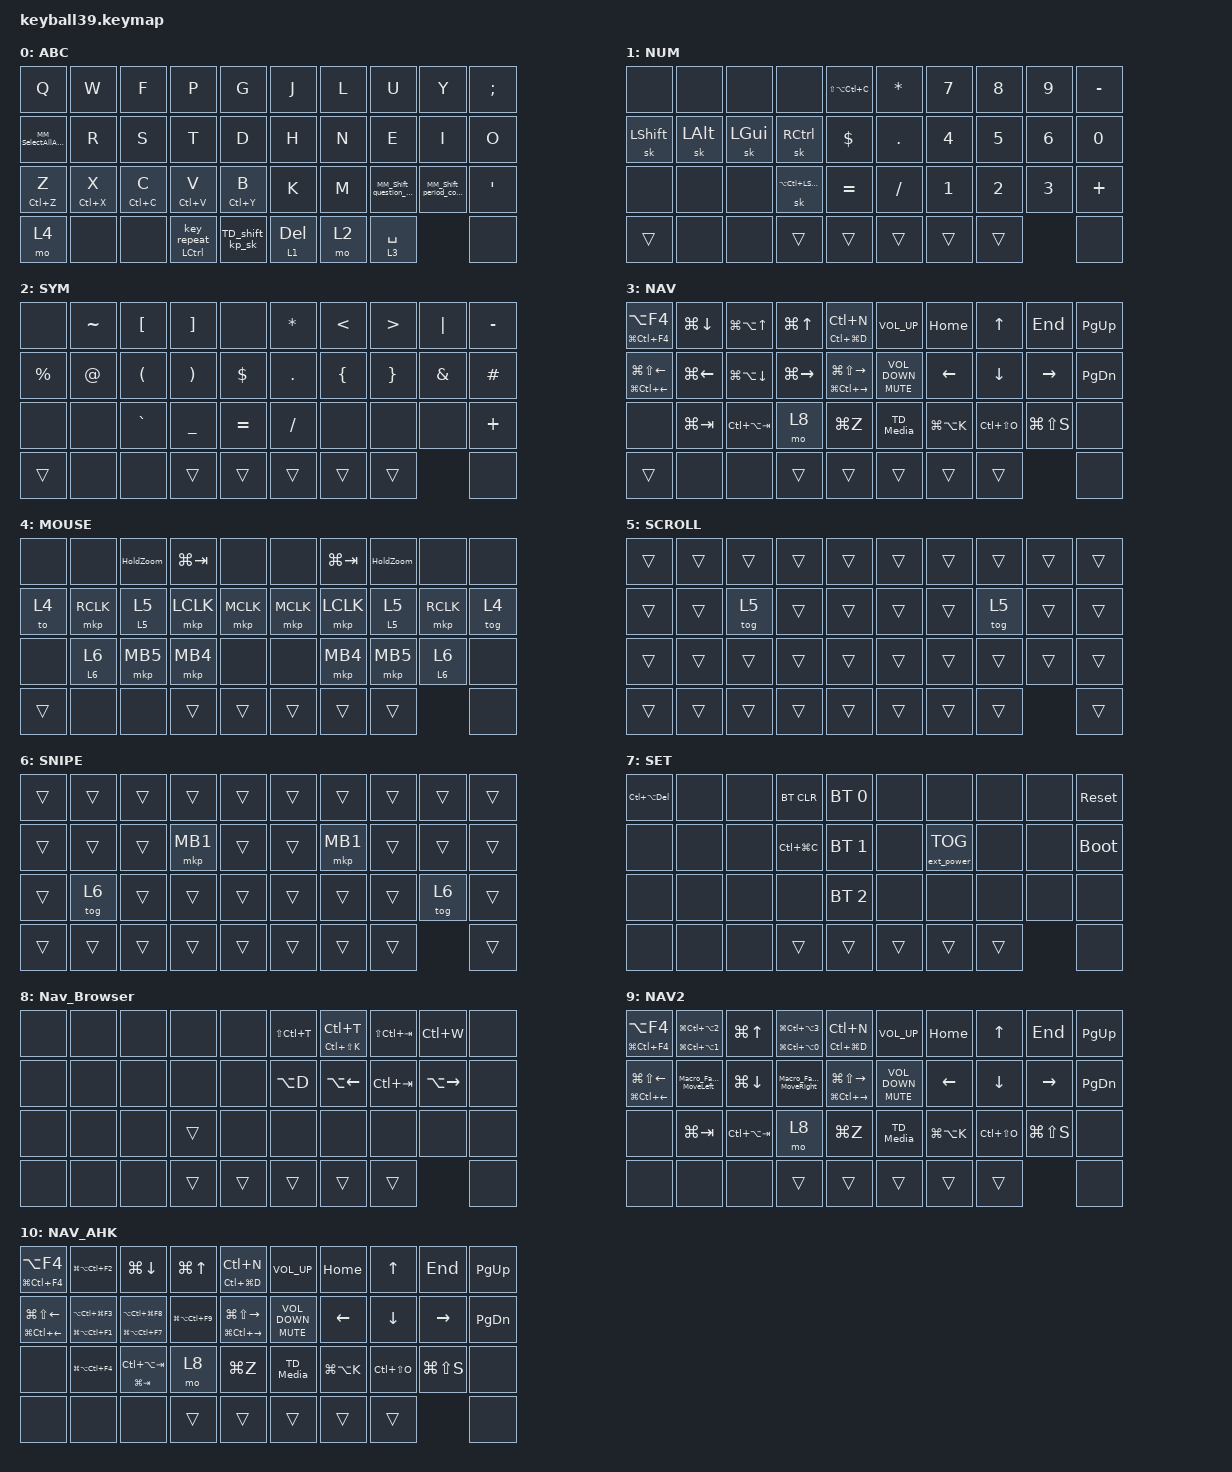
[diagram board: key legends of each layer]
#define DEFAULT 0
#define NUM     1
#define SYM     2
#define FUN     3
#define MOUSE   4
#define SCROLL  5
#define SNIPE   6

#include <behaviors/mouse_keys.dtsi>
#include <dt-bindings/zmk/mouse.h>
#include <behaviors.dtsi>
#include <dt-bindings/zmk/bt.h>
#include <dt-bindings/zmk/ext_power.h>
#include <dt-bindings/zmk/keys.h>
#include <dt-bindings/zmk/pointing.h>

&lt {
    tapping-term-ms = <240>;
    flavor = "balanced";
    quick-tap-ms = <150>;
};

&mt {
    flavor = "tap-preferred";
    quick-tap-ms = <150>;
};

&caps_word { continue-list = <UNDERSCORE MINUS BACKSPACE>; };

/ {
    // custom shift using mod-morph 

    behaviors {
        cmqus: comma_question {
            compatible = "zmk,behavior-mod-morph";
            label = "COMMA_QUESTION";
            #binding-cells = <0>;
            bindings = <&kp COMMA>, <&kp QUESTION>;

            mods = <(MOD_LSFT|MOD_RSFT)>;
        };

        dtsmi: dot_semi {
            compatible = "zmk,behavior-mod-morph";
            label = "DOT_SEMI";
            #binding-cells = <0>;
            bindings = <&kp DOT>, <&kp SEMI>;

            mods = <(MOD_LSFT|MOD_RSFT)>;
        };

        MM_Shift_period_comma: MM_Shift_period_comma {
            compatible = "zmk,behavior-mod-morph";
            label = "MM_SHIFT_PERIOD_COMMA";
            bindings = <&kp PERIOD>, <&kp COMMA>;

            #binding-cells = <0>;
            mods = <(MOD_LSFT)>;
        };

        MM_Shift_question_exclaim: MM_Shift_question_exclaim {
            compatible = "zmk,behavior-mod-morph";
            label = "MM_SHIFT_QUESTION_EXCLAIM";
            bindings = <&kp QUESTION>, <&kp EXCL>;

            #binding-cells = <0>;
            mods = <(MOD_LSFT)>;
        };

        MM_SelectAllAndCopy: MM_SelectAllAndCopy {
            compatible = "zmk,behavior-mod-morph";
            label = "MM_SELECTALLANDCOPY";
            bindings = <&kp A>, <&Select_All_And_Copy>;

            #binding-cells = <0>;
            mods = <(MOD_LCTL)>;
        };

        TD_Media: TD_Media {
            compatible = "zmk,behavior-tap-dance";
            label = "TD_MEDIA";
            #binding-cells = <0>;
            bindings = <&kp C_PLAY_PAUSE>, <&kp C_NEXT>, <&kp C_PREVIOUS>;
        };

        HT_ctrl_repeat: HT_ctrl_repeat {
            compatible = "zmk,behavior-hold-tap";
            label = "HT_CTRL_REPEAT";
            bindings = <&kp>, <&key_repeat>;

            #binding-cells = <2>;
            tapping-term-ms = <200>;
        };

        HT_long_hold: HT_long_hold {
            compatible = "zmk,behavior-hold-tap";
            label = "HT_LONG_HOLD";
            bindings = <&kp>, <&kp>;

            #binding-cells = <2>;
            flavor = "tap-preferred";
            tapping-term-ms = <750>;
        };

        TD_shift_kp_sk: TD_shift_kp_sk {
            compatible = "zmk,behavior-tap-dance";
            label = "TD_SHIFT_KP_SK";
            #binding-cells = <0>;
            bindings = <&kp LEFT_SHIFT>, <&sk LEFT_SHIFT>;
        };

        MT_MOvsTOG: MT_MOvsTOG {
            compatible = "zmk,behavior-hold-tap";
            label = "MT_MOVSTOG";
            bindings = <&mo>, <&tog>;

            #binding-cells = <2>;
            tapping-term-ms = <200>;
        };
    };

    macros {
        HoldZoom: HoldZoom {
            compatible = "zmk,behavior-macro";
            #binding-cells = <0>;
            bindings =
                <&macro_press>,
                <&mo 5 &kp LCTRL>,
                <&macro_pause_for_release>,
                <&macro_release>,
                <&mo 5 &kp LCTRL>;

            label = "HOLDZOOM";
        };

        Select_All_And_Copy: Select_All_And_Copy {
            compatible = "zmk,behavior-macro";
            #binding-cells = <0>;
            bindings = <&kp LC(A) &kp LC(C) &kp RIGHT>;
            label = "SELECT_ALL_AND_COPY";
        };

        Macro_FancyZones_MoveRight: Macro_FancyZones_MoveWindow {
            compatible = "zmk,behavior-macro";
            #binding-cells = <0>;
            bindings =
                <&macro_press>,
                <&kp LEFT_GUI>,
                <&macro_tap>,
                <&kp RIGHT>,
                <&macro_release>,
                <&kp LEFT_GUI>;

            label = "MACRO_FANCYZONES_MOVEWINDOW";
        };

        Macro_FancyZones_MoveLeft: Macro_FancyZones_MoveLeft {
            compatible = "zmk,behavior-macro";
            #binding-cells = <0>;
            bindings =
                <&macro_press>,
                <&kp LEFT_GUI>,
                <&macro_tap>,
                <&kp LEFT>,
                <&macro_release>,
                <&kp LEFT_GUI>;

            label = "MACRO_FANCYZONES_MOVELEFT";
        };
    };

    combos {
        compatible = "zmk,combos";

        Esc_combo {
            bindings = <&HT_long_hold LA(LC(DELETE)) ESCAPE>;
            key-positions = <1 2>;
        };

        Tab_combo {
            bindings = <&kp TAB>;
            key-positions = <21 22>;
        };

        Bspace_combo {
            bindings = <&kp BACKSPACE>;
            key-positions = <7 8>;
        };

        Enter_combo {
            bindings = <&kp ENTER>;
            key-positions = <27 28>;
        };

        capslock_combo {
            bindings = <&kp CAPS>;
            key-positions = <4 5>;
            layers = <0>;
        };

        capsword_combo {
            bindings = <&caps_word>;
            key-positions = <14 15>;
            layers = <0>;
        };

        Backspace_Word_Combo {
            bindings = <&kp LC(BACKSPACE)>;
            key-positions = <17 18>;
        };

        combo_vertical_top23rds {
            bindings = <&kp LA(LC(LG(F5)))>;
            key-positions = <1 11>;
            layers = <10>;
        };

        combo_vertical_bottom23rds {
            bindings = <&kp LC(LA(LG(F6)))>;
            key-positions = <11 21>;
            layers = <10>;
        };

        combo_horizontal_full {
            bindings = <&kp LA(LC(LG(F7)))>;
            key-positions = <13 12>;
            layers = <10>;
        };
    };

    keymap {
        compatible = "zmk,keymap";

        default_layer {
            label = "ABC";
            bindings = <
&kp Q                 &kp W        &kp F        &kp P                    &kp G                                 &kp J        &kp L  &kp U                       &kp Y                   &kp SEMI
&MM_SelectAllAndCopy  &kp R        &kp S        &kp T                    &kp D                                 &kp H        &kp N  &kp E                       &kp I                   &kp O
&mt LC(Z) Z           &mt LC(X) X  &mt LC(C) C  &mt LC(V) V              &mt LC(Y) B                           &kp K        &kp M  &MM_Shift_question_exclaim  &MM_Shift_period_comma  &kp SINGLE_QUOTE
&mo 4                 &none        &none        &HT_ctrl_repeat LCTRL 0  &TD_shift_kp_sk  &lt 1 DELETE  &mo 2  &lt 3 SPACE                                                             &none
            >;
        };

        number_layer {
            label = "NUM";
            bindings = <
&none           &none         &none         &none                   &kp LS(LA(LC(C)))                  &kp ASTERISK  &kp NUMBER_7  &kp NUMBER_8  &kp NUMBER_9  &kp MINUS
&sk LEFT_SHIFT  &sk LEFT_ALT  &sk LEFT_GUI  &sk RCTRL               &kp DOLLAR                         &kp PERIOD    &kp NUMBER_4  &kp NUMBER_5  &kp NUMBER_6  &kp NUMBER_0
&none           &none         &none         &sk LA(LC(LEFT_SHIFT))  &kp EQUAL                          &kp SLASH     &kp NUMBER_1  &kp NUMBER_2  &kp NUMBER_3  &kp PLUS
&trans          &none         &none         &trans                  &trans             &trans  &trans  &trans                                                  &none
            >;
        };

        symbol_layer {
            label = "SYM";
            bindings = <
&none        &kp TILDE  &kp LEFT_BRACKET      &kp RIGHT_BRACKET      &none                       &kp ASTRK   &kp LESS_THAN   &kp GREATER_THAN  &kp PIPE       &kp MINUS
&kp PERCENT  &kp AT     &kp LEFT_PARENTHESIS  &kp RIGHT_PARENTHESIS  &kp DOLLAR                  &kp PERIOD  &kp LEFT_BRACE  &kp RIGHT_BRACE   &kp AMPERSAND  &kp POUND
&none        &none      &kp GRAVE             &kp UNDER              &kp EQUAL                   &kp SLASH   &none           &none             &none          &kp PLUS
&trans       &none      &none                 &trans                 &trans      &trans  &trans  &trans                                                       &none
            >;
        };

        navigation_layer {
            label = "NAV";
            bindings = <
&mt LG(LC(F4)) LA(F4)          &kp LG(DOWN_ARROW)  &kp LG(LA(UP_ARROW))  &kp LG(UP_ARROW)  &mt LC(LG(D)) LC(N)                              &kp C_VOLUME_UP           &kp HOME       &kp UP_ARROW   &kp END        &kp PG_UP
&mt LG(LC(LEFT)) LG(LS(LEFT))  &kp LG(LEFT)        &kp LG(LA(DOWN))      &kp LG(RIGHT)     &mt LG(LC(RIGHT)) LG(LS(RIGHT))                  &mt C_MUTE C_VOLUME_DOWN  &kp LEFT       &kp DOWN       &kp RIGHT      &kp PG_DN
&none                          &kp LG(TAB)         &kp LC(LA(TAB))       &mo 8             &kp LG(Z)                                        &TD_Media                 &kp LG(LA(K))  &kp LC(LS(O))  &kp LG(LS(S))  &none
&trans                         &none               &none                 &trans            &trans                           &trans  &trans  &trans                                                                 &none
            >;
        };

        mouse_layer {
            label = "MOUSE";
            bindings = <
&none   &none            &HoldZoom        &kp LG(TAB)  &none                      &none      &kp LG(TAB)  &HoldZoom        &none            &none
&to 4   &mkp RCLK        &MT_MOvsTOG 5 5  &mkp LCLK    &mkp MCLK                  &mkp MCLK  &mkp LCLK    &MT_MOvsTOG 5 5  &mkp RCLK        &tog 4
&none   &MT_MOvsTOG 6 6  &mkp MB5         &mkp MB4     &none                      &none      &mkp MB4     &mkp MB5         &MT_MOvsTOG 6 6  &none
&trans  &none            &none            &trans       &trans     &trans  &trans  &trans                                                    &none
            >;
        };

        scroll_layer {
            label = "SCROLL";
            bindings = <
&trans  &trans  &trans  &trans  &trans                  &trans  &trans  &trans  &trans  &trans
&trans  &trans  &tog 5  &trans  &trans                  &trans  &trans  &tog 5  &trans  &trans
&trans  &trans  &trans  &trans  &trans                  &trans  &trans  &trans  &trans  &trans
&trans  &trans  &trans  &trans  &trans  &trans  &trans  &trans                          &trans
            >;
        };

        snipe_layer {
            label = "SNIPE";
            bindings = <
&trans  &trans  &trans  &trans    &trans                  &trans  &trans    &trans  &trans  &trans
&trans  &trans  &trans  &mkp MB1  &trans                  &trans  &mkp MB1  &trans  &trans  &trans
&trans  &tog 6  &trans  &trans    &trans                  &trans  &trans    &trans  &tog 6  &trans
&trans  &trans  &trans  &trans    &trans  &trans  &trans  &trans                            &trans
            >;
        };

        settings_layer {
            label = "SET";
            bindings = <
&kp LC(LA(DELETE))  &none  &none  &bt BT_CLR     &bt BT_SEL 0                  &none   &none              &none  &none  &sys_reset
&none               &none  &none  &kp LC(LG(C))  &bt BT_SEL 1                  &none   &ext_power EP_TOG  &none  &none  &bootloader
&none               &none  &none  &none          &bt BT_SEL 2                  &none   &none              &none  &none  &none
&none               &none  &none  &trans         &trans        &trans  &trans  &trans                                   &none
            >;
        };

        Nav_Browser {
            bindings = <
&none  &none  &none  &none   &none                   &kp LS(LC(T))  &mt LC(LS(K)) LC(T)  &kp LS(LC(TAB))  &kp LC(W)            &none
&none  &none  &none  &none   &none                   &kp LA(D)      &kp LA(LEFT_ARROW)   &kp LC(TAB)      &kp LA(RIGHT_ARROW)  &none
&none  &none  &none  &trans  &none                   &none          &none                &none            &none                &none
&none  &none  &none  &trans  &trans  &trans  &trans  &trans                                                                    &none
            >;
        };

        Navigation_FancyZones {
            label = "NAV2";
            bindings = <
&mt LG(LC(F4)) LA(F4)          &mt LG(LC(LA(NUMBER_1))) LG(LC(LA(NUMBER_2)))  &kp LG(UP_ARROW)  &mt LG(LC(LA(N0))) LG(LC(LA(NUMBER_3)))  &mt LC(LG(D)) LC(N)                              &kp C_VOLUME_UP           &kp HOME       &kp UP_ARROW   &kp END        &kp PG_UP
&mt LG(LC(LEFT)) LG(LS(LEFT))  &Macro_FancyZones_MoveLeft                     &kp LG(DOWN)      &Macro_FancyZones_MoveRight              &mt LG(LC(RIGHT)) LG(LS(RIGHT))                  &mt C_MUTE C_VOLUME_DOWN  &kp LEFT       &kp DOWN       &kp RIGHT      &kp PG_DN
&none                          &kp LG(TAB)                                    &kp LC(LA(TAB))   &mo 8                                    &kp LG(Z)                                        &TD_Media                 &kp LG(LA(K))  &kp LC(LS(O))  &kp LG(LS(S))  &none
&none                          &none                                          &none             &trans                                   &trans                           &trans  &trans  &trans                                                                 &none
            >;
        };

        Navigation_AutoHotKey {
            label = "NAV_AHK";
            bindings = <
&mt LG(LC(F4)) LA(F4)          &kp LG(LA(LC(F2)))                 &kp LG(DOWN)                       &kp LG(UP_ARROW)    &mt LC(LG(D)) LC(N)                              &kp C_VOLUME_UP           &kp HOME       &kp UP_ARROW   &kp END        &kp PG_UP
&mt LG(LC(LEFT)) LG(LS(LEFT))  &mt LG(LA(LC(F1))) LA(LC(LG(F3)))  &mt LG(LA(LC(F7))) LA(LC(LG(F8)))  &kp LG(LA(LC(F9)))  &mt LG(LC(RIGHT)) LG(LS(RIGHT))                  &mt C_MUTE C_VOLUME_DOWN  &kp LEFT       &kp DOWN       &kp RIGHT      &kp PG_DN
&none                          &kp LG(LA(LC(F4)))                 &mt LG(TAB) LC(LA(TAB))            &mo 8               &kp LG(Z)                                        &TD_Media                 &kp LG(LA(K))  &kp LC(LS(O))  &kp LG(LS(S))  &none
&none                          &none                              &none                              &trans              &trans                           &trans  &trans  &trans                                                                 &none
            >;
        };
    };

    conditional_layers {
        compatible = "zmk,conditional-layers";

        Settings_Layer {
            if-layers = <1 2>;
            then-layer = <7>;
        };
    };
};
